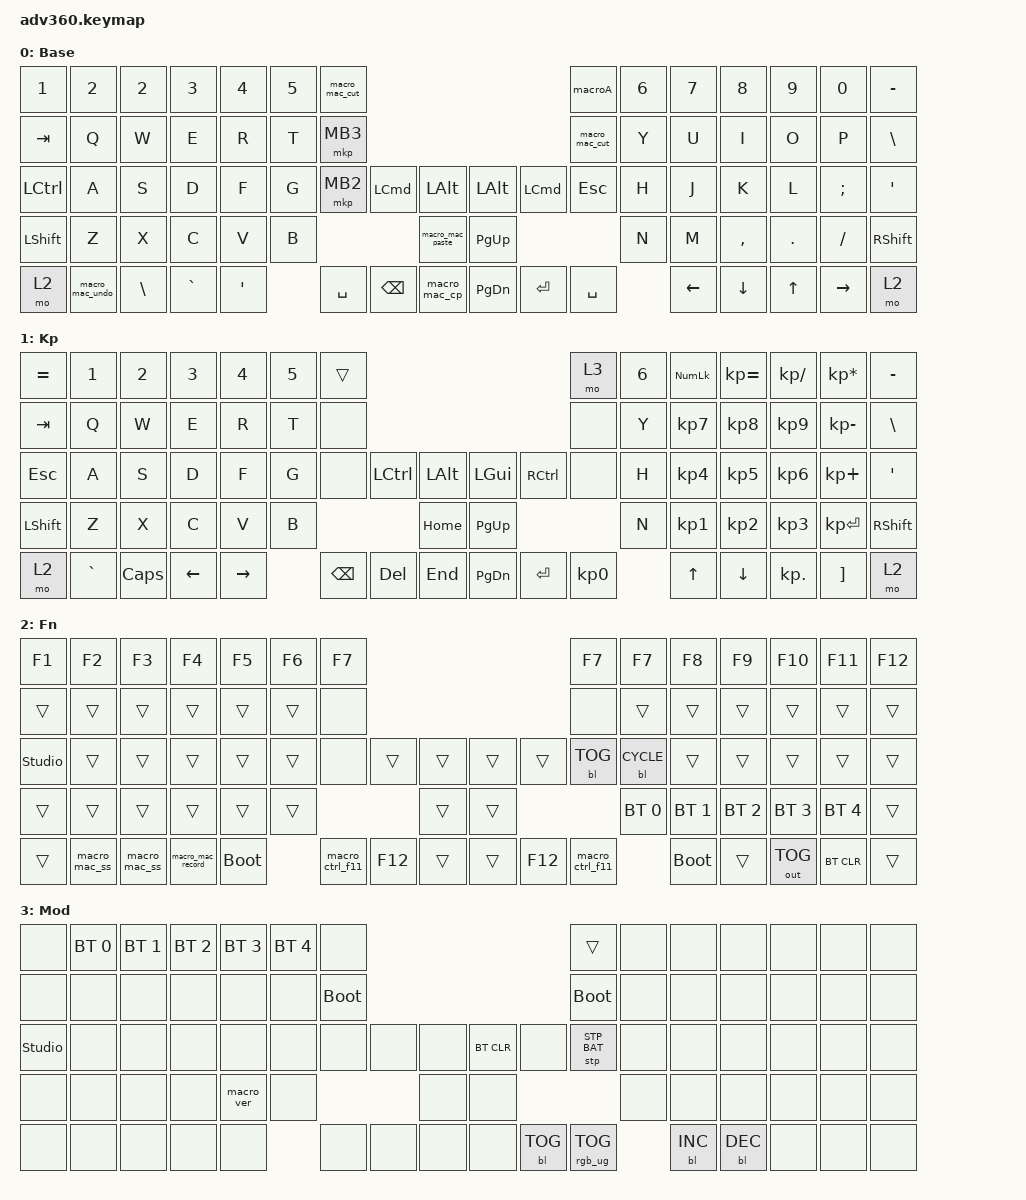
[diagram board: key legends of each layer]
#include <dt-bindings/zmk/stp.h>
#include <behaviors.dtsi>
#include <dt-bindings/zmk/backlight.h>
#include <dt-bindings/zmk/bt.h>
#include <dt-bindings/zmk/keys.h>
#include <dt-bindings/zmk/outputs.h>
#include <dt-bindings/zmk/pointing.h>
#include <dt-bindings/zmk/rgb.h>

/ {
    behaviors {
        #include "macros.dtsi"
      #include "version.dtsi"

        hm: homerow_mods {
            compatible = "zmk,behavior-hold-tap";
            label = "HOMEROW_MODS";
            #binding-cells = <2>;
            tapping-term-ms = <200>;
            quick_tap_ms = <175>;
            flavor = "tap-preferred";
            bindings = <&kp>, <&kp>;
        };
    };

    macros {
        macro_mac_cp: macro_mac_cp {
            compatible = "zmk,behavior-macro";
            #binding-cells = <0>;
            bindings = <&kt LEFT_COMMAND &kp C &kt LEFT_COMMAND>;
            label = "MACRO_MAC_CP";
        };

        macro_mac_paste: macro_mac_paste {
            compatible = "zmk,behavior-macro";
            #binding-cells = <0>;
            bindings = <&kt LEFT_COMMAND &kp V &kt LEFT_COMMAND>;
            label = "MACRO_MAC_PASTE";
        };

        macro_mac_undo: macro_mac_undo {
            compatible = "zmk,behavior-macro";
            #binding-cells = <0>;
            bindings = <&kt LEFT_COMMAND &kp Z &kt LEFT_COMMAND>;
            label = "MACRO_MAC_UNDO";
        };

        macro_mac_cut: macro_mac_cut {
            compatible = "zmk,behavior-macro";
            #binding-cells = <0>;
            bindings = <&kt LEFT_COMMAND &kp X &kt LEFT_COMMAND>;
            label = "MACRO_MAC_CUT";
        };

        macro_ctrl_f11: macro_ctrl_f11 {
            compatible = "zmk,behavior-macro";
            #binding-cells = <0>;
            bindings = <&kt LCTRL &kp F11 &kt LCTRL>;
            label = "MACRO_CTRL_F11";
        };

        macro_mac_ss: macro_mac_ss {
            compatible = "zmk,behavior-macro";
            #binding-cells = <0>;
            bindings = <&kt LEFT_COMMAND &kt LSHIFT &kp NUMBER_4 &kt LSHIFT &kt LEFT_COMMAND>;
            label = "MACRO_MAC_SS";
        };

        macro_mac_record: macro_mac_record {
            compatible = "zmk,behavior-macro";
            #binding-cells = <0>;
            bindings = <&kt LEFT_COMMAND &kt LSHIFT &kp N5 &kt LSHIFT &kt LEFT_COMMAND>;
            label = "MACRO_MAC_RECORD";
        };

        macroA: macroA {
            compatible = "zmk,behavior-macro";
            #binding-cells = <0>;
            bindings = <&kt LEFT_COMMAND &kp A &kt LEFT_COMMAND>;
            label = "MACROA";
        };
    };

    keymap {
        compatible = "zmk,keymap";

        default_layer {
            display-name = "Base";
            bindings = <
&kp NUMBER_1  &kp N2           &kp N2         &kp N3     &kp N4            &kp N5  &macro_mac_cut                                                                       &macroA         &kp N6  &kp N7          &kp N8     &kp N9        &kp N0           &kp MINUS
&kp TAB       &kp Q            &kp W          &kp E      &kp R             &kp T   &mkp MB3                                                                             &macro_mac_cut  &kp Y   &kp U           &kp I      &kp O         &kp P            &kp BSLH
&kp LCTRL     &kp A            &kp S          &kp D      &kp F             &kp G   &mkp MB2        &kp LEFT_COMMAND  &kp LALT              &kp LALT   &kp LEFT_COMMAND  &kp ESCAPE      &kp H   &kp J           &kp K      &kp L         &kp SEMI         &kp SQT
&kp LSHFT     &kp Z            &kp X          &kp C      &kp V             &kp B                                     &macro_mac_paste      &kp PG_UP                                    &kp N   &kp M           &kp COMMA  &kp DOT       &kp FSLH         &kp RSHFT
&mo 2         &macro_mac_undo  &kp BACKSLASH  &kp GRAVE  &kp SINGLE_QUOTE          &kp SPACE       &kp BACKSPACE     &macro_mac_cp         &kp PG_DN  &kp ENTER         &kp SPACE               &kp LEFT_ARROW  &kp DOWN   &kp UP_ARROW  &kp RIGHT_ARROW  &mo 2
            >;
        };

        keypad {
            display-name = "Kp";
            bindings = <
&kp EQUAL  &kp N1     &kp N2    &kp N3    &kp N4     &kp N5  &trans                                                   &mo 3      &kp N6  &kp KP_NUM  &kp KP_EQUAL  &kp KP_DIVIDE  &kp KP_MULTIPLY  &kp MINUS
&kp TAB    &kp Q      &kp W     &kp E     &kp R      &kp T   &none                                                    &none      &kp Y   &kp KP_N7   &kp KP_N8     &kp KP_N9      &kp KP_MINUS     &kp BSLH
&kp ESC    &kp A      &kp S     &kp D     &kp F      &kp G   &none     &kp LCTRL  &kp LALT      &kp LGUI   &kp RCTRL  &none      &kp H   &kp KP_N4   &kp KP_N5     &kp KP_N6      &kp KP_PLUS      &kp SQT
&kp LSHFT  &kp Z      &kp X     &kp C     &kp V      &kp B                        &kp HOME      &kp PG_UP                        &kp N   &kp KP_N1   &kp KP_N2     &kp KP_N3      &kp KP_ENTER     &kp RSHFT
&mo 2      &kp GRAVE  &kp CAPS  &kp LEFT  &kp RIGHT          &kp BSPC  &kp DEL    &kp END       &kp PG_DN  &kp ENTER  &kp KP_N0          &kp UP      &kp DOWN      &kp KP_DOT     &kp RBKT         &mo 2
            >;
        };

        fn {
            display-name = "Fn";
            bindings = <
&kp F1          &kp F2         &kp F3         &kp F4             &kp F5       &kp F6  &kp F7                                                 &kp F7           &kp F7        &kp F8        &kp F9        &kp F10       &kp F11       &kp F12
&trans          &trans         &trans         &trans             &trans       &trans  &none                                                  &none            &trans        &trans        &trans        &trans        &trans        &trans
&studio_unlock  &trans         &trans         &trans             &trans       &trans  &none            &trans   &trans      &trans  &trans   &bl BL_TOG       &bl BL_CYCLE  &trans        &trans        &trans        &trans        &trans
&trans          &trans         &trans         &trans             &trans       &trans                            &trans      &trans                            &bt BT_SEL 0  &bt BT_SEL 1  &bt BT_SEL 2  &bt BT_SEL 3  &bt BT_SEL 4  &trans
&trans          &macro_mac_ss  &macro_mac_ss  &macro_mac_record  &bootloader          &macro_ctrl_f11  &kp F12  &trans      &trans  &kp F12  &macro_ctrl_f11                &bootloader   &trans        &out OUT_TOG  &bt BT_CLR    &trans
            >;
        };

        mod {
            display-name = "Mod";
            bindings = <
&none           &bt BT_SEL 0  &bt BT_SEL 1  &bt BT_SEL 2  &bt BT_SEL 3  &bt BT_SEL 4  &none                                                  &trans           &none  &none       &none       &none  &none  &none
&none           &none         &none         &none         &none         &none         &bootloader                                            &bootloader      &none  &none       &none       &none  &none  &none
&studio_unlock  &none         &none         &none         &none         &none         &none        &none  &none      &bt BT_CLR  &none       &stp STP_BAT     &none  &none       &none       &none  &none  &none
&none           &none         &none         &none         &macro_ver    &none                             &none      &none                                    &none  &none       &none       &none  &none  &none
&none           &none         &none         &none         &none                       &none        &none  &none      &none       &bl BL_TOG  &rgb_ug RGB_TOG         &bl BL_INC  &bl BL_DEC  &none  &none  &none
            >;
        };

        extra1 {
            display-name = "Red";
            status = "reserved";
        };

        extra2 {
            display-name = "Purple";
            status = "reserved";
        };

        extra3 {
            display-name = "Cyan";
            status = "reserved";
        };

        extra4 {
            display-name = "Yellow";
            status = "reserved";
        };
    };
};
